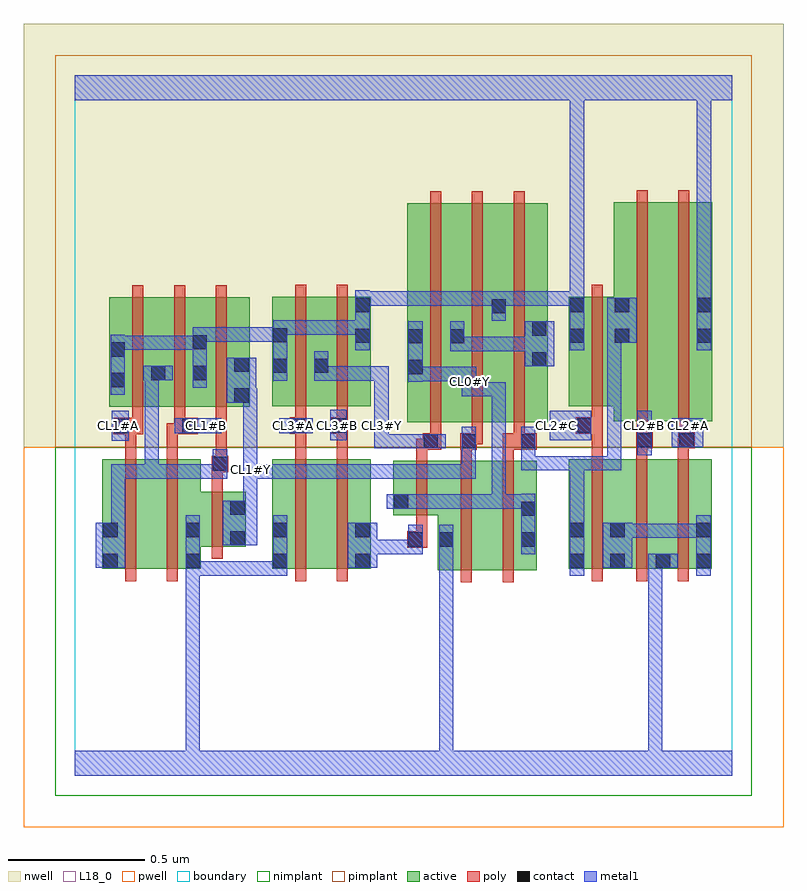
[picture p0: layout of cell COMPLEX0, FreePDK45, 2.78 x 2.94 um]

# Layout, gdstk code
import gdstk
lib = gdstk.Library(unit=1e-6, precision=1e-09)
def R(c, l, rs):  # rectangles x0, y0, x1, y1
    for r in rs: c.add(gdstk.rectangle(r[:2], r[2:], *l))
def A(c, l, x, y, w, h, nx, ny, dx, dy):  # array of equal rectangles
    R(c, l, [(x+i*dx, y+j*dy, x+i*dx+w, y+j*dy+h) for i in range(nx) for j in range(ny)])
active = (1, 0)
pwell = (2, 0)
nwell = (3, 0)
nimplant = (4, 0)
pimplant = (5, 0)
poly = (9, 0)
contact = (10, 0)
metal1 = (11, 0)
L18_0 = (18, 0)
boundary = (235, 0)

complex0 = lib.new_cell('COMPLEX0')
R(complex0, active, [(1.326,0.752,1.506,1.152), (1.506,0.752,1.686,1.152), (1.626,0.752,1.686,1.152), (0.1,0.756,0.16,1.156), (0.1,0.756,0.28,1.156), (0.28,0.756,0.46,1.156), (0.4,0.756,0.46,1.038), (0.72,0.756,0.78,1.156), (0.72,0.756,0.9,1.156), (0.9,0.756,1.08,1.156), (1.02,0.756,1.08,1.156), (1.804,0.756,1.864,1.156), (1.804,0.756,2.012,1.156), (1.952,0.756,2.012,1.156), (1.952,0.756,2.178,1.156), (2.118,0.756,2.178,1.156), (2.118,0.756,2.326,1.156), (2.266,0.756,2.326,1.156), (1.326,0.834,1.386,0.956), (0.4,0.838,0.624,1.038), (0.564,0.838,0.624,1.038), (1.162,0.952,1.386,1.152), (1.162,0.952,1.222,1.152), (1.214,1.292,1.274,2.044), (1.214,1.292,1.426,2.092), (1.366,1.292,1.578,2.092), (1.518,1.292,1.726,2.092), (1.666,1.292,1.726,2.044), (1.968,1.296,2.148,2.096), (2.148,1.296,2.328,2.096), (2.268,1.296,2.328,2.044), (0.126,1.348,0.334,1.748), (0.126,1.348,0.186,1.644), (0.274,1.348,0.486,1.748), (0.426,1.348,0.638,1.748), (0.578,1.348,0.638,1.644), (0.72,1.35,0.78,1.75), (0.72,1.35,0.93,1.75), (0.87,1.35,1.08,1.75), (1.02,1.35,1.08,1.75), (1.804,1.35,1.864,1.75), (1.804,1.35,2.028,1.75), (1.968,1.4,2.028,1.82), (0.274,1.442,0.334,1.644), (0.426,1.442,0.486,1.644), (0.87,1.468,0.93,1.644), (1.366,1.576,1.426,2.044), (1.518,1.686,1.578,2.044)])
R(complex0, pwell, [(-0.188,-0.188,2.588,1.2)])
R(complex0, nwell, [(-0.188,1.2,2.588,2.748)])
R(complex0, nimplant, [(-0.072,-0.072,2.472,1.2)])
R(complex0, pimplant, [(-0.072,1.2,2.472,2.632)])
A(complex0, poly, 1.298, 1.212, 0.04, 0.076, 3, 1, 0.152, 0)
A(complex0, poly, 1.298, 1.248, 0.04, 0.888, 3, 1, 0.152, 0)
A(complex0, poly, 0.21, 1.304, 0.04, 0.488, 3, 1, 0.152, 0)
R(complex0, poly, [(1.41,0.708,1.45,1.196), (1.562,0.708,1.602,1.196), (0.184,0.712,0.224,1.2), (0.336,0.712,0.376,1.2), (0.804,0.712,0.844,1.2), (0.956,0.712,0.996,1.2), (1.888,0.712,1.928,1.2), (2.05,0.712,2.09,1.2), (2.202,0.712,2.242,1.2), (0.5,0.794,0.54,1.082), (1.214,0.834,1.286,0.894), (1.246,0.854,1.286,0.948), (1.246,0.908,1.286,1.196), (0.5,1.042,0.54,1.15), (0.5,1.11,0.56,1.17), (0.514,1.13,0.554,1.17), (0.514,1.13,0.554,1.17), (0.514,1.13,0.554,1.344), (1.246,1.156,1.286,1.232), (1.41,1.156,1.45,1.232), (1.562,1.156,1.602,1.232), (0.184,1.16,0.224,1.288), (0.336,1.16,0.376,1.288), (0.804,1.16,0.844,1.29), (0.956,1.16,0.996,1.29), (1.888,1.16,1.928,1.29), (2.05,1.16,2.09,1.236), (2.202,1.16,2.242,1.236), (1.246,1.192,1.31,1.232), (1.27,1.192,1.31,1.232), (1.27,1.192,1.338,1.252), (1.408,1.192,1.468,1.252), (1.562,1.192,1.686,1.252), (2.05,1.196,2.11,1.256), (2.202,1.196,2.244,1.236), (2.204,1.196,2.244,1.236), (2.204,1.196,2.264,1.256), (1.428,1.212,1.468,1.252), (1.428,1.212,1.49,1.252), (1.602,1.212,1.642,1.252), (1.602,1.212,1.642,1.252), (2.052,1.216,2.092,1.292), (2.052,1.216,2.092,1.256), (2.052,1.216,2.092,1.256), (2.204,1.216,2.244,1.292), (0.14,1.248,0.25,1.308), (0.184,1.248,0.224,1.288), (0.184,1.248,0.224,1.288), (0.336,1.248,0.402,1.288), (0.362,1.248,0.402,1.288), (0.362,1.248,0.448,1.308), (0.784,1.25,0.844,1.31), (0.804,1.25,0.844,1.29), (0.804,1.25,0.844,1.29), (0.936,1.25,0.996,1.31), (0.956,1.25,0.996,1.29), (0.956,1.25,0.996,1.29), (1.83,1.25,1.928,1.31), (1.888,1.25,1.928,1.29), (1.888,1.25,1.928,1.29), (2.052,1.252,2.092,2.14), (2.204,1.252,2.244,2.14), (0.21,1.268,0.25,1.344), (0.362,1.268,0.402,1.344), (0.804,1.27,0.844,1.346), (0.956,1.27,0.996,1.346), (1.888,1.27,1.928,1.346), (0.804,1.306,0.844,1.794), (0.956,1.306,0.996,1.794), (1.888,1.306,1.928,1.794)])
R(complex0, contact, [(0.104,0.76,0.156,0.812), (0.404,0.76,0.456,0.812), (0.724,0.76,0.776,0.812), (1.024,0.76,1.076,0.812), (1.808,0.76,1.86,0.812), (1.956,0.76,2.008,0.812), (2.122,0.76,2.174,0.812), (2.27,0.76,2.322,0.812), (1.218,0.838,1.27,0.89), (1.33,0.838,1.382,0.89), (1.63,0.838,1.682,0.89), (0.568,0.842,0.62,0.894), (0.104,0.872,0.156,0.924), (0.404,0.872,0.456,0.924), (0.724,0.872,0.776,0.924), (1.024,0.872,1.076,0.924), (1.808,0.872,1.86,0.924), (1.956,0.872,2.008,0.924), (2.27,0.872,2.322,0.924), (1.63,0.95,1.682,1.002), (0.568,0.954,0.62,1.006), (1.166,0.976,1.218,1.028), (0.504,1.114,0.556,1.166), (1.274,1.196,1.326,1.248), (1.412,1.196,1.464,1.248), (1.63,1.196,1.682,1.248), (2.054,1.2,2.106,1.252), (2.208,1.2,2.26,1.252), (0.144,1.252,0.196,1.304), (0.392,1.252,0.444,1.304), (0.788,1.254,0.84,1.306), (0.94,1.254,0.992,1.306), (1.834,1.254,1.886,1.306), (0.582,1.364,0.634,1.416), (0.13,1.42,0.182,1.472), (0.278,1.446,0.33,1.498), (0.43,1.446,0.482,1.498), (1.218,1.468,1.27,1.52), (0.724,1.472,0.776,1.524), (0.874,1.472,0.926,1.524), (0.582,1.476,0.634,1.528), (1.67,1.496,1.722,1.548), (0.13,1.532,0.182,1.584), (0.43,1.558,0.482,1.61), (1.218,1.58,1.27,1.632), (1.37,1.58,1.422,1.632), (1.024,1.582,1.076,1.634), (1.808,1.582,1.86,1.634), (1.972,1.582,2.024,1.634), (2.272,1.582,2.324,1.634), (0.724,1.584,0.776,1.636), (1.67,1.608,1.722,1.66), (1.522,1.69,1.574,1.742), (1.024,1.694,1.076,1.746), (1.808,1.694,1.86,1.746), (1.972,1.694,2.024,1.746), (2.272,1.694,2.324,1.746)])
R(complex0, metal1, [(0,0,2.4,0.092), (0.404,0.04,0.456,0.092), (0.404,0.04,0.456,0.092), (0.404,0.04,0.456,0.092), (0.404,0.04,0.456,0.092), (0.404,0.04,0.456,0.092), (0.404,0.04,0.456,0.092), (0.404,0.04,0.456,0.092), (0.404,0.04,0.456,0.092), (0.404,0.04,0.456,0.092), (0.404,0.04,0.456,0.092), (0.404,0.04,0.456,0.784), (1.33,0.04,1.382,0.092), (1.33,0.04,1.382,0.092), (1.33,0.04,1.382,0.092), (1.33,0.04,1.382,0.092), (1.33,0.04,1.382,0.092), (1.33,0.04,1.382,0.092), (1.33,0.04,1.382,0.092), (1.33,0.04,1.382,0.092), (1.33,0.04,1.382,0.092), (1.33,0.04,1.382,0.092), (1.33,0.04,1.382,0.092), (1.33,0.04,1.382,0.092), (1.33,0.04,1.382,0.862), (2.094,0.04,2.146,0.092), (2.094,0.04,2.146,0.092), (2.094,0.04,2.146,0.092), (2.094,0.04,2.146,0.092), (2.094,0.04,2.146,0.092), (2.094,0.04,2.146,0.092), (2.094,0.04,2.146,0.092), (2.094,0.04,2.146,0.092), (2.094,0.04,2.146,0.092), (2.094,0.04,2.146,0.092), (2.094,0.04,2.146,0.092), (2.094,0.04,2.146,0.092), (2.094,0.04,2.146,0.812), (0.404,0.732,0.456,0.784), (0.404,0.732,0.456,0.784), (0.404,0.732,0.456,0.952), (0.404,0.732,0.666,0.784), (0.614,0.732,0.666,0.784), (0.614,0.732,0.666,0.784), (0.614,0.732,0.666,0.784), (0.614,0.732,0.776,0.784), (0.724,0.732,0.776,0.952), (1.808,0.732,1.86,0.952), (2.27,0.732,2.322,0.952), (0.076,0.76,0.184,0.924), (0.996,0.76,1.104,0.924), (1.928,0.76,2.036,0.924), (2.094,0.76,2.202,0.812), (1.052,0.81,1.27,0.862), (1.218,0.81,1.27,0.862), (1.218,0.81,1.27,0.862), (1.218,0.81,1.27,0.918), (1.33,0.81,1.382,0.918), (1.63,0.81,1.682,1.03), (0.54,0.842,0.666,1.006), (1.984,0.87,2.036,0.922), (1.984,0.87,2.036,0.922), (1.984,0.87,2.212,0.922), (2.16,0.87,2.212,0.922), (2.16,0.87,2.212,0.922), (2.16,0.87,2.212,0.922), (2.16,0.87,2.322,0.922), (0.132,0.872,0.184,1.138), (1.808,0.9,1.86,1.168), (0.614,0.954,0.666,1.118), (1.138,0.976,1.246,1.028), (1.194,0.976,1.256,1.028), (1.204,0.976,1.256,1.028), (1.204,0.976,1.464,1.028), (1.412,0.976,1.464,1.028), (1.412,0.976,1.464,1.028), (1.412,0.976,1.464,1.028), (1.412,0.976,1.574,1.028), (1.522,0.976,1.574,1.028), (1.522,0.976,1.682,1.028), (1.522,0.976,1.574,1.438), (1.63,0.976,1.682,1.028), (1.63,0.976,1.682,1.028), (0.614,1.066,0.666,1.174), (0.132,1.086,0.184,1.138), (0.132,1.086,0.184,1.138), (0.132,1.086,0.184,1.138), (0.132,1.086,0.306,1.138), (0.254,1.086,0.306,1.138), (0.254,1.086,0.306,1.138), (0.254,1.086,0.306,1.138), (0.254,1.086,0.416,1.138), (0.254,1.086,0.306,1.498), (0.364,1.086,0.416,1.138), (0.364,1.086,0.556,1.138), (0.504,1.086,0.556,1.194), (0.614,1.086,0.776,1.138), (0.724,1.086,0.776,1.138), (0.724,1.086,0.776,1.138), (0.724,1.086,0.776,1.138), (0.724,1.086,0.886,1.138), (0.834,1.086,0.886,1.138), (0.834,1.086,1.036,1.138), (0.984,1.086,1.036,1.138), (0.984,1.086,1.036,1.138), (0.984,1.086,1.036,1.138), (0.984,1.086,1.272,1.138), (1.22,1.086,1.272,1.138), (1.22,1.086,1.272,1.138), (1.22,1.086,1.272,1.138), (1.22,1.086,1.464,1.138), (1.412,1.086,1.464,1.22), (1.63,1.116,1.86,1.168), (1.63,1.116,1.682,1.22), (1.808,1.116,1.86,1.168), (1.808,1.116,1.86,1.168), (1.808,1.116,1.86,1.168), (1.808,1.116,1.996,1.168), (1.944,1.116,1.996,1.168), (1.944,1.116,1.996,1.168), (1.944,1.116,1.996,1.168), (1.944,1.116,1.996,1.634), (0.614,1.122,0.666,1.416), (1.412,1.168,1.464,1.22), (1.412,1.168,1.464,1.276), (1.63,1.168,1.682,1.22), (1.63,1.168,1.682,1.276), (2.054,1.172,2.106,1.334), (1.094,1.196,1.298,1.248), (1.094,1.196,1.146,1.278), (1.246,1.196,1.354,1.248), (2.18,1.2,2.294,1.306), (0.134,1.224,0.196,1.334), (0.932,1.226,0.992,1.338), (1.094,1.226,1.146,1.278), (1.094,1.226,1.146,1.334), (1.734,1.226,1.886,1.334), (0.364,1.252,0.534,1.306), (0.746,1.252,0.868,1.306), (1.094,1.282,1.146,1.496), (0.554,1.364,0.662,1.528), (0.61,1.364,0.662,1.416), (0.61,1.364,0.666,1.416), (1.412,1.386,1.466,1.494), (1.414,1.386,1.466,1.438), (1.414,1.386,1.466,1.438), (1.414,1.386,1.574,1.438), (1.522,1.386,1.574,1.438), (1.522,1.386,1.574,1.438), (1.522,1.386,1.574,1.438), (0.13,1.392,0.182,1.612), (0.43,1.418,0.482,1.638), (1.218,1.44,1.27,1.66), (1.218,1.442,1.27,1.494), (1.218,1.442,1.27,1.494), (1.218,1.442,1.464,1.494), (1.412,1.442,1.464,1.494), (1.412,1.442,1.464,1.494), (0.724,1.444,0.776,1.664), (0.874,1.444,0.926,1.496), (0.874,1.444,0.926,1.496), (0.874,1.444,0.926,1.552), (0.874,1.444,1.146,1.496), (1.094,1.444,1.146,1.496), (0.25,1.446,0.358,1.498), (0.254,1.446,0.306,1.498), (0.254,1.446,0.306,1.498), (1.642,1.496,1.75,1.66), (1.37,1.552,1.422,1.66), (1.37,1.552,1.566,1.604), (1.514,1.552,1.566,1.604), (1.514,1.552,1.576,1.604), (1.524,1.552,1.576,1.604), (1.524,1.552,1.576,1.604), (1.524,1.552,1.576,1.604), (1.524,1.552,1.676,1.604), (1.624,1.552,1.676,1.604), (1.624,1.552,1.694,1.604), (1.024,1.554,1.076,1.774), (1.808,1.554,1.86,1.774), (2.272,1.554,2.324,1.774), (0.13,1.556,0.182,1.608), (0.13,1.556,0.182,1.608), (0.13,1.556,0.306,1.608), (0.254,1.556,0.306,1.608), (0.254,1.556,0.306,1.608), (0.254,1.556,0.306,1.608), (0.254,1.556,0.482,1.608), (1.944,1.582,2.052,1.746), (0.43,1.586,0.592,1.638), (0.54,1.586,0.592,1.638), (0.54,1.586,0.592,1.638), (0.54,1.586,0.592,1.638), (0.54,1.586,0.776,1.638), (0.724,1.612,0.776,1.664), (0.724,1.612,0.776,1.664), (0.724,1.612,0.886,1.664), (0.834,1.612,0.886,1.664), (0.834,1.612,1.036,1.664), (0.984,1.612,1.036,1.664), (0.984,1.612,1.076,1.664), (1.522,1.662,1.574,1.77), (1.024,1.718,1.256,1.77), (1.204,1.718,1.256,1.77), (1.204,1.718,1.256,1.77), (1.204,1.718,1.256,1.77), (1.204,1.718,1.464,1.77), (1.412,1.718,1.464,1.77), (1.412,1.718,1.464,1.77), (1.412,1.718,1.464,1.77), (1.412,1.718,1.574,1.77), (1.522,1.718,1.682,1.77), (1.63,1.718,1.682,1.77), (1.63,1.718,1.682,1.77), (1.63,1.718,1.682,1.77), (1.63,1.718,1.86,1.77), (1.808,1.722,1.86,1.774), (1.808,1.722,1.86,1.774), (1.808,1.722,1.86,1.774), (1.808,1.722,1.86,1.774), (1.808,1.722,1.86,1.774), (1.808,1.722,1.86,1.774), (1.808,1.722,1.86,1.774), (1.808,1.722,1.86,1.774), (1.808,1.722,1.86,1.774), (1.808,1.722,1.86,1.774), (1.808,1.722,1.86,1.774), (1.808,1.722,1.86,1.774), (1.808,1.722,1.86,1.774), (1.808,1.722,1.86,1.774), (1.808,1.722,1.86,1.774), (1.808,1.722,1.86,1.774), (1.808,1.722,1.86,2.52), (2.272,1.722,2.324,1.774), (2.272,1.722,2.324,1.774), (2.272,1.722,2.324,1.774), (2.272,1.722,2.324,1.774), (2.272,1.722,2.324,1.774), (2.272,1.722,2.324,1.774), (2.272,1.722,2.324,1.774), (2.272,1.722,2.324,1.774), (2.272,1.722,2.324,2.52), (0,2.468,2.4,2.56)])
A(complex0, L18_0, 0.134, 1.254, 0.052, 0.052, 3, 1, 0.32, 0)
R(complex0, L18_0, [(0,0,2.4,0.092), (0.404,0.04,0.456,0.092), (0.404,0.04,0.456,0.092), (0.404,0.04,0.456,0.092), (0.404,0.04,0.456,0.092), (0.404,0.04,0.456,0.092), (0.404,0.04,0.456,0.092), (0.404,0.04,0.456,0.092), (0.404,0.04,0.456,0.092), (0.404,0.04,0.456,0.092), (0.404,0.04,0.456,0.092), (0.404,0.04,0.456,0.784), (1.33,0.04,1.382,0.092), (1.33,0.04,1.382,0.092), (1.33,0.04,1.382,0.092), (1.33,0.04,1.382,0.092), (1.33,0.04,1.382,0.092), (1.33,0.04,1.382,0.092), (1.33,0.04,1.382,0.092), (1.33,0.04,1.382,0.092), (1.33,0.04,1.382,0.092), (1.33,0.04,1.382,0.092), (1.33,0.04,1.382,0.092), (1.33,0.04,1.382,0.092), (1.33,0.04,1.382,0.862), (2.094,0.04,2.146,0.092), (2.094,0.04,2.146,0.092), (2.094,0.04,2.146,0.092), (2.094,0.04,2.146,0.092), (2.094,0.04,2.146,0.092), (2.094,0.04,2.146,0.092), (2.094,0.04,2.146,0.092), (2.094,0.04,2.146,0.092), (2.094,0.04,2.146,0.092), (2.094,0.04,2.146,0.092), (2.094,0.04,2.146,0.092), (2.094,0.04,2.146,0.092), (2.094,0.04,2.146,0.812), (0.404,0.732,0.456,0.952), (0.404,0.732,0.456,0.784), (0.404,0.732,0.456,0.784), (0.404,0.732,0.666,0.784), (0.614,0.732,0.666,0.784), (0.614,0.732,0.666,0.784), (0.614,0.732,0.666,0.784), (0.614,0.732,0.776,0.784), (0.724,0.732,0.776,0.952), (0.996,0.76,1.104,0.924), (2.094,0.76,2.202,0.812), (1.052,0.81,1.27,0.862), (1.218,0.81,1.27,0.862), (1.218,0.81,1.27,0.862), (1.218,0.81,1.27,0.918), (1.33,0.81,1.382,0.918), (1.63,0.81,1.682,1.03), (0.54,0.842,0.666,1.006), (0.614,0.954,0.666,1.118), (1.138,0.976,1.246,1.028), (1.194,0.976,1.256,1.028), (1.204,0.976,1.256,1.028), (1.204,0.976,1.464,1.028), (1.412,0.976,1.464,1.028), (1.412,0.976,1.464,1.028), (1.412,0.976,1.464,1.028), (1.412,0.976,1.574,1.028), (1.522,0.976,1.574,1.028), (1.522,0.976,1.574,1.438), (1.522,0.976,1.682,1.028), (1.63,0.976,1.682,1.028), (1.63,0.976,1.682,1.028), (0.614,1.066,0.666,1.174), (0.614,1.086,0.776,1.138), (0.724,1.086,0.776,1.138), (0.724,1.086,0.776,1.138), (0.724,1.086,0.776,1.138), (0.724,1.086,0.886,1.138), (0.834,1.086,0.886,1.138), (0.834,1.086,1.036,1.138), (0.984,1.086,1.036,1.138), (0.984,1.086,1.036,1.138), (0.984,1.086,1.036,1.138), (0.984,1.086,1.272,1.138), (1.22,1.086,1.272,1.138), (1.22,1.086,1.272,1.138), (1.22,1.086,1.272,1.138), (1.22,1.086,1.464,1.138), (1.412,1.086,1.464,1.22), (0.614,1.094,0.666,1.146), (0.614,1.122,0.666,1.416), (1.412,1.168,1.464,1.22), (1.412,1.168,1.464,1.276), (2.054,1.172,2.106,1.334), (1.094,1.196,1.146,1.278), (1.094,1.196,1.298,1.248), (1.246,1.196,1.354,1.248), (2.18,1.2,2.294,1.306), (0.134,1.224,0.196,1.334), (0.932,1.226,0.992,1.338), (1.094,1.226,1.146,1.278), (1.094,1.226,1.146,1.334), (1.734,1.226,1.886,1.334), (0.364,1.252,0.534,1.306), (0.746,1.252,0.868,1.306), (0.934,1.254,0.986,1.306), (1.094,1.254,1.146,1.306), (1.734,1.254,1.786,1.306), (2.054,1.254,2.106,1.306), (2.214,1.254,2.266,1.306), (1.094,1.282,1.146,1.496), (0.554,1.364,0.662,1.528), (0.61,1.364,0.662,1.416), (0.61,1.364,0.666,1.416), (1.412,1.386,1.466,1.494), (1.414,1.386,1.466,1.438), (1.414,1.386,1.466,1.438), (1.414,1.386,1.574,1.438), (1.522,1.386,1.574,1.438), (1.522,1.386,1.574,1.438), (1.522,1.386,1.574,1.438), (0.13,1.392,0.182,1.612), (1.414,1.414,1.466,1.466), (0.43,1.418,0.482,1.638), (1.218,1.44,1.27,1.66), (1.218,1.442,1.27,1.494), (1.218,1.442,1.27,1.494), (1.218,1.442,1.464,1.494), (1.412,1.442,1.464,1.494), (1.412,1.442,1.464,1.494), (0.724,1.444,0.776,1.664), (0.874,1.444,0.926,1.496), (0.874,1.444,0.926,1.496), (0.874,1.444,0.926,1.552), (0.874,1.444,1.146,1.496), (1.094,1.444,1.146,1.496), (1.024,1.554,1.076,1.774), (1.808,1.554,1.86,1.774), (2.272,1.554,2.324,1.774), (0.13,1.556,0.182,1.608), (0.13,1.556,0.182,1.608), (0.13,1.556,0.306,1.608), (0.254,1.556,0.306,1.608), (0.254,1.556,0.306,1.608), (0.254,1.556,0.306,1.608), (0.254,1.556,0.482,1.608), (0.43,1.586,0.592,1.638), (0.54,1.586,0.592,1.638), (0.54,1.586,0.592,1.638), (0.54,1.586,0.592,1.638), (0.54,1.586,0.776,1.638), (0.724,1.612,0.776,1.664), (0.724,1.612,0.776,1.664), (0.724,1.612,0.886,1.664), (0.834,1.612,0.886,1.664), (0.834,1.612,1.036,1.664), (0.984,1.612,1.036,1.664), (0.984,1.612,1.076,1.664), (1.522,1.662,1.574,1.77), (1.024,1.718,1.256,1.77), (1.204,1.718,1.256,1.77), (1.204,1.718,1.256,1.77), (1.204,1.718,1.256,1.77), (1.204,1.718,1.464,1.77), (1.412,1.718,1.464,1.77), (1.412,1.718,1.464,1.77), (1.412,1.718,1.464,1.77), (1.412,1.718,1.574,1.77), (1.522,1.718,1.682,1.77), (1.63,1.718,1.682,1.77), (1.63,1.718,1.682,1.77), (1.63,1.718,1.682,1.77), (1.63,1.718,1.86,1.77), (1.808,1.722,1.86,1.774), (1.808,1.722,1.86,1.774), (1.808,1.722,1.86,1.774), (1.808,1.722,1.86,1.774), (1.808,1.722,1.86,1.774), (1.808,1.722,1.86,1.774), (1.808,1.722,1.86,1.774), (1.808,1.722,1.86,1.774), (1.808,1.722,1.86,1.774), (1.808,1.722,1.86,1.774), (1.808,1.722,1.86,1.774), (1.808,1.722,1.86,1.774), (1.808,1.722,1.86,1.774), (1.808,1.722,1.86,1.774), (1.808,1.722,1.86,1.774), (1.808,1.722,1.86,1.774), (1.808,1.722,1.86,2.52), (2.272,1.722,2.324,1.774), (2.272,1.722,2.324,1.774), (2.272,1.722,2.324,1.774), (2.272,1.722,2.324,1.774), (2.272,1.722,2.324,1.774), (2.272,1.722,2.324,1.774), (2.272,1.722,2.324,1.774), (2.272,1.722,2.324,1.774), (2.272,1.722,2.324,2.52), (0,2.468,2.4,2.56)])
R(complex0, boundary, [(0,0,2.4,2.56)])
complex0.add(gdstk.Label('CL0#Y', (1.44,1.44), layer=11, texttype=0))
complex0.add(gdstk.Label('CL1#A', (0.16,1.28), layer=11, texttype=0))
complex0.add(gdstk.Label('CL1#B', (0.48,1.28), layer=11, texttype=0))
complex0.add(gdstk.Label('CL1#Y', (0.64,1.12), layer=11, texttype=0))
complex0.add(gdstk.Label('CL2#A', (2.24,1.28), layer=11, texttype=0))
complex0.add(gdstk.Label('CL2#B', (2.08,1.28), layer=11, texttype=0))
complex0.add(gdstk.Label('CL2#C', (1.76,1.28), layer=11, texttype=0))
complex0.add(gdstk.Label('CL3#A', (0.8,1.28), layer=11, texttype=0))
complex0.add(gdstk.Label('CL3#B', (0.96,1.28), layer=11, texttype=0))
complex0.add(gdstk.Label('CL3#Y', (1.12,1.28), layer=11, texttype=0))

lib.write_gds('COMPLEX0.gds')
